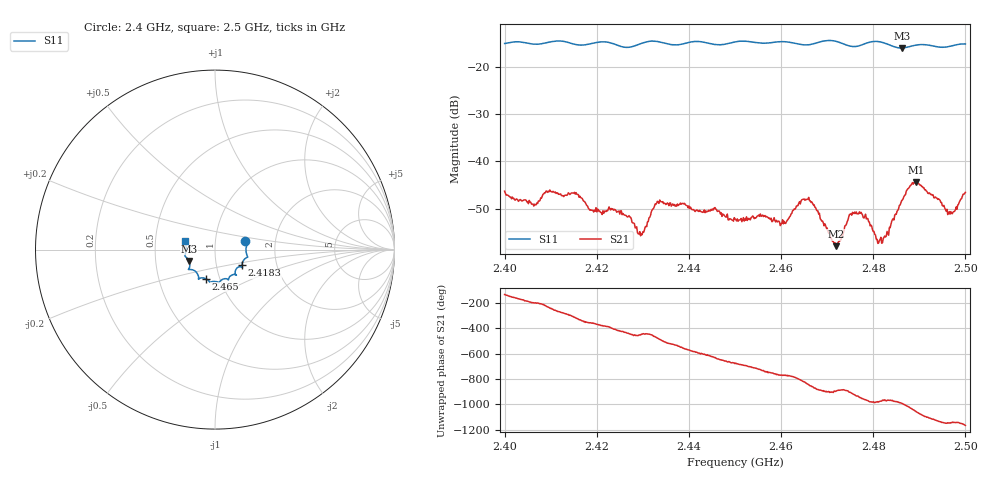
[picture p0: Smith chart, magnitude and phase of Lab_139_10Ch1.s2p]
# Hz S RI R 50
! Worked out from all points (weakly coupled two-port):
!   601 points, 2.4 GHz to 2.5 GHz, reference 50 ohm
!   highest |S21| = -44.48 dB at 2.4893 GHz (marker M1); lowest = -58.0 dB at 2.472 GHz (marker M2)
!   lowest |S11| = -16.1 dB at 2.4862 GHz (marker M3), VSWR 1.37, Z = 37.1 - j4.8 ohm
!   |S11| at or under -10 dB: start of sweep to end of sweep
!   S12 and S22 are empty: the file has one direction only
!   S11 on the Smith chart (normalised r, x): 2.4 GHz: 1.40, +0.13; 2.4183 GHz: 1.33, -0.24; 2.465 GHz: 0.86, -0.29; 2.5 GHz: 0.71, +0.07
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2.4e9  0.1695 0.0457  -0.00339 -0.00343  0 0  0 0
2.406333e9  0.1728 0.00507  -0.00316 0.00113  0 0  0 0
2.4095e9  0.1781 -0.0316  -0.00282 0.0039  0 0  0 0
2.416667e9  0.1548 -0.0679  0.00383 0.00143  0 0  0 0
2.418333e9  0.1499 -0.087  0.00311 0.000183  0 0  0 0
2.425167e9  0.1326 -0.0962  0.00138 -0.00265  0 0  0 0
2.429333e9  0.1126 -0.1321  -7.07e-05 -0.0018  0 0  0 0
2.433333e9  0.1176 -0.1411  -0.00194 -0.00316  0 0  0 0
2.45e9  0.025 -0.1807  0.00184 0.00162  0 0  0 0
2.456e9  -0.000547 -0.1771  0.00262 -0.000647  0 0  0 0
2.460333e9  -0.0285 -0.1816  0.0015 -0.00188  0 0  0 0
2.465e9  -0.0525 -0.1617  -0.000821 -0.0039  0 0  0 0
2.466667e9  -0.0713 -0.1571  -0.00283 -0.00241  0 0  0 0
2.472e9  -0.0911 -0.1608  -0.00126 -0.00014  0 0  0 0
2.4755e9  -0.1052 -0.1247  -0.00278 0.000767  0 0  0 0
2.478667e9  -0.1394 -0.1108  -0.000903 0.00232  0 0  0 0
2.4815e9  -0.1469 -0.1089  -0.000396 0.00144  0 0  0 0
2.483333e9  -0.1414 -0.0964  -0.000641 0.00152  0 0  0 0
2.486167e9  -0.1441 -0.063  2.66e-05 0.00383  0 0  0 0
2.489333e9  -0.1644 -0.0397  0.00553 0.00225  0 0  0 0
2.496667e9  -0.1623 0.0242  0.00106 -0.00254  0 0  0 0
2.5e9  -0.1672 0.0468  0.000367 -0.00468  0 0  0 0
